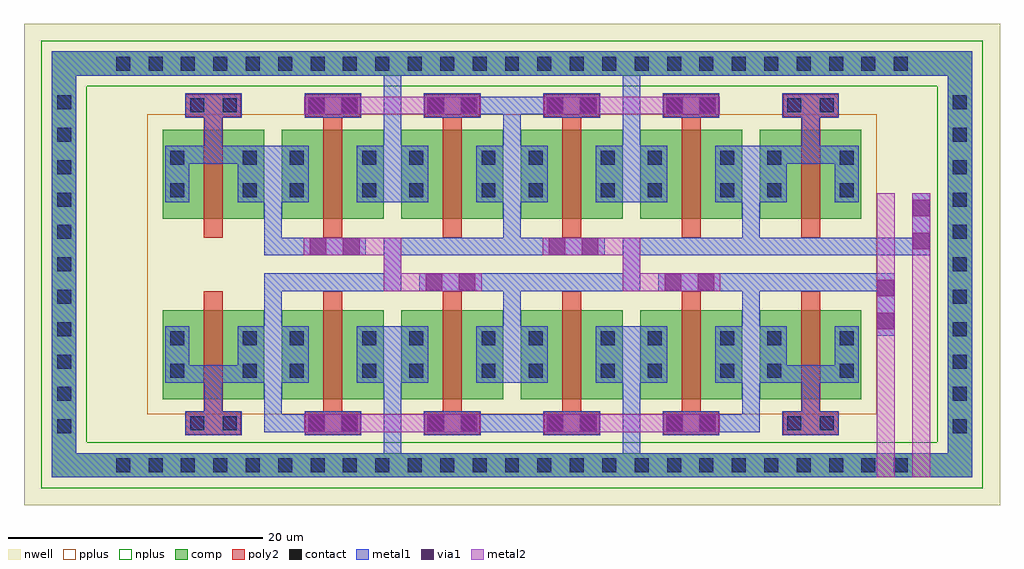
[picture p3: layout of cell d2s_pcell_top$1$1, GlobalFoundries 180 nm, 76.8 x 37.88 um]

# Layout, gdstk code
from math import pi, radians
import gdstk
lib = gdstk.Library(unit=1e-6, precision=1e-09)
def R(c, l, rs):  # rectangles x0, y0, x1, y1
    for r in rs: c.add(gdstk.rectangle(r[:2], r[2:], *l))
def A(c, l, x, y, w, h, nx, ny, dx, dy):  # array of equal rectangles
    R(c, l, [(x+i*dx, y+j*dy, x+i*dx+w, y+j*dy+h) for i in range(nx) for j in range(ny)])
nwell = (21, 0)
comp = (22, 0)
poly2 = (30, 0)
pplus = (31, 0)
nplus = (32, 0)
contact = (33, 0)
metal1 = (34, 0)
via1 = (35, 0)
metal2 = (36, 0)

d2s_pcell_1_1_1_1_1 = lib.new_cell('d2s_pcell_1$1$1$1$1')
R(d2s_pcell_1_1_1_1_1, comp, [(0,1.5,2.3,8.5), (2.3,1.5,5.7,8.5), (5.7,1.5,8,8.5)])
R(d2s_pcell_1_1_1_1_1, poly2, [(3.25,0,4.75,10)])
R(d2s_pcell_1_1_1_1_1, contact, [(0.6,3.175,1.7,4.275), (6.3,3.175,7.4,4.275), (0.6,5.725,1.7,6.825), (6.3,5.725,7.4,6.825)])
R(d2s_pcell_1_1_1_1_1, metal1, [(0.2,2.775,2.1,7.225), (5.9,2.775,7.8,7.225)])

d2s_pcell_4_1_1_1 = lib.new_cell('d2s_pcell_4$1$1$1')
A(d2s_pcell_4_1_1_1, poly2, 1.825, 9.5, 4.35, 1.8, 6, 1, 9.4, 0)
R(d2s_pcell_4_1_1_1, contact, [(2.175,9.85,3.275,10.95), (4.725,9.85,5.825,10.95), (11.575,9.85,12.675,10.95), (14.125,9.85,15.225,10.95), (20.975,9.85,22.075,10.95), (23.525,9.85,24.625,10.95), (30.375,9.85,31.475,10.95), (32.925,9.85,34.025,10.95), (39.775,9.85,40.875,10.95), (42.325,9.85,43.425,10.95), (49.175,9.85,50.275,10.95), (51.725,9.85,52.825,10.95)])
A(d2s_pcell_4_1_1_1, metal1, 7.8, 2.775, 1.8, 4.45, 5, 1, 9.4, 0)
A(d2s_pcell_4_1_1_1, metal1, 1.775, 9.45, 4.45, 1.9, 6, 1, 9.4, 0)
R(d2s_pcell_4_1_1_1, via1, [(11.45,9.75,12.75,11.05), (14.05,9.75,15.35,11.05), (20.85,9.75,22.15,11.05), (23.45,9.75,24.75,11.05), (30.25,9.75,31.55,11.05), (32.85,9.75,34.15,11.05), (39.65,9.75,40.95,11.05), (42.25,9.75,43.55,11.05)])
d2s_pcell_4_1_1_1.add(gdstk.FlexPath([(51,9.45),(51,7.225)], 1.4, ends="flush", simple_path=True, layer=34, datatype=0))  # metal1
d2s_pcell_4_1_1_1.add(gdstk.FlexPath([(49.1,6.525),(52.9,6.525)], 1.4, ends="flush", simple_path=True, layer=34, datatype=0))  # metal1
d2s_pcell_4_1_1_1.add(gdstk.FlexPath([(4,9.45),(4,7.225)], 1.4, ends="flush", simple_path=True, layer=34, datatype=0))  # metal1
d2s_pcell_4_1_1_1.add(gdstk.FlexPath([(5.9,6.525),(2.1,6.525)], 1.4, ends="flush", simple_path=True, layer=34, datatype=0))  # metal1
d2s_pcell_4_1_1_1.add(gdstk.FlexPath([(25.05,10.4),(11.15,10.4)], 1.4, ends="flush", simple_path=True, layer=36, datatype=0))  # metal2
d2s_pcell_4_1_1_1.add(gdstk.FlexPath([(43.85,10.4),(29.95,10.4)], 1.4, ends="flush", simple_path=True, layer=36, datatype=0))  # metal2
d2s_pcell_4_1_1_1.add(gdstk.Reference(d2s_pcell_1_1_1_1_1, (9.4,0)))
d2s_pcell_4_1_1_1.add(gdstk.Reference(d2s_pcell_1_1_1_1_1, (18.8,0)))
d2s_pcell_4_1_1_1.add(gdstk.Reference(d2s_pcell_1_1_1_1_1, (28.2,0)))
d2s_pcell_4_1_1_1.add(gdstk.Reference(d2s_pcell_1_1_1_1_1, (37.6,0)))
d2s_pcell_4_1_1_1.add(gdstk.Reference(d2s_pcell_1_1_1_1_1, (47,0)))
d2s_pcell_4_1_1_1.add(gdstk.Reference(d2s_pcell_1_1_1_1_1, (8,0), rotation=pi, x_reflection=True))

d2s_pcell_top_1_1 = lib.new_cell('d2s_pcell_top$1$1')
R(d2s_pcell_top_1_1, nwell, [(0,0,76.8,37.875)])
R(d2s_pcell_top_1_1, pplus, [(9.7,7.15,67.1,30.75)])
A(d2s_pcell_top_1_1, contact, 7.25, 2.6, 1.1, 1.1, 25, 2, 2.55, 31.6)
A(d2s_pcell_top_1_1, contact, 2.6, 5.65, 1.1, 1.1, 1, 11, 0, 2.55)
A(d2s_pcell_top_1_1, contact, 73.1, 5.65, 1.1, 1.1, 1, 11, 0, 2.55)
R(d2s_pcell_top_1_1, via1, [(67.15,13.85,68.45,15.15), (67.15,16.45,68.45,17.75), (31.6,16.9,32.9,18.2), (34.2,16.9,35.5,18.2), (50.4,16.9,51.7,18.2), (53,16.9,54.3,18.2), (22.5,19.7,23.8,21), (25.1,19.7,26.4,21), (41.3,19.7,42.6,21), (43.9,19.7,45.2,21), (69.95,20.15,71.25,21.45), (69.95,22.75,71.25,24.05)])
d2s_pcell_top_1_1.add(gdstk.FlexPath([(73.65,35.7),(73.65,3.15),(3.15,3.15),(3.15,34.75),(72.7,34.75)], 1.9, ends="flush", simple_path=True, layer=34, datatype=0))  # metal1
d2s_pcell_top_1_1.add(gdstk.FlexPath([(70.6,19.65),(70.6,24.55)], 1.4, ends="flush", simple_path=True, layer=34, datatype=0))  # metal1
d2s_pcell_top_1_1.add(gdstk.FlexPath([(57.9,17.55),(68.5,17.55)], 1.4, ends="flush", simple_path=True, layer=34, datatype=0))  # metal1
d2s_pcell_top_1_1.add(gdstk.FlexPath([(67.8,13.35),(67.8,18.25)], 1.4, ends="flush", simple_path=True, layer=34, datatype=0))  # metal1
d2s_pcell_top_1_1.add(gdstk.FlexPath([(57.9,20.35),(70.85,20.35)], 1.4, ends="flush", simple_path=True, layer=34, datatype=0))  # metal1
d2s_pcell_top_1_1.add(gdstk.FlexPath([(57.2,23.825),(57.2,21.05)], 1.4, ends="flush", simple_path=True, layer=34, datatype=0))  # metal1
d2s_pcell_top_1_1.add(gdstk.FlexPath([(38.4,23.825),(38.4,21.05)], 1.4, ends="flush", simple_path=True, layer=34, datatype=0))  # metal1
d2s_pcell_top_1_1.add(gdstk.FlexPath([(19.6,23.825),(19.6,21.05)], 1.4, ends="flush", simple_path=True, layer=34, datatype=0))  # metal1
d2s_pcell_top_1_1.add(gdstk.FlexPath([(36,20.35),(29,20.35),(29,17.55),(22,17.55)], 1.4, ends="flush", simple_path=True, layer=34, datatype=0))  # metal1
d2s_pcell_top_1_1.add(gdstk.FlexPath([(26.9,20.35),(22,20.35)], 1.4, ends="flush", simple_path=True, layer=34, datatype=0))  # metal1
d2s_pcell_top_1_1.add(gdstk.FlexPath([(36,17.55),(31.1,17.55)], 1.4, ends="flush", simple_path=True, layer=34, datatype=0))  # metal1
d2s_pcell_top_1_1.add(gdstk.FlexPath([(36,20.35),(40.8,20.35)], 1.4, ends="flush", simple_path=True, layer=34, datatype=0))  # metal1
d2s_pcell_top_1_1.add(gdstk.FlexPath([(36,17.55),(40.8,17.55)], 1.4, ends="flush", simple_path=True, layer=34, datatype=0))  # metal1
d2s_pcell_top_1_1.add(gdstk.FlexPath([(22,20.35),(18.9,20.35)], 1.4, ends="flush", simple_path=True, layer=34, datatype=0))  # metal1
d2s_pcell_top_1_1.add(gdstk.FlexPath([(22,17.55),(18.9,17.55)], 1.4, ends="flush", simple_path=True, layer=34, datatype=0))  # metal1
d2s_pcell_top_1_1.add(gdstk.FlexPath([(38.4,23.825),(38.4,21.05)], 1.4, ends="flush", simple_path=True, layer=34, datatype=0))  # metal1
d2s_pcell_top_1_1.add(gdstk.FlexPath([(54.8,20.35),(47.8,20.35),(47.8,17.55),(40.8,17.55)], 1.4, ends="flush", simple_path=True, layer=34, datatype=0))  # metal1
d2s_pcell_top_1_1.add(gdstk.FlexPath([(38.4,28.275),(38.4,30.75)], 1.4, ends="flush", simple_path=True, layer=34, datatype=0))  # metal1
d2s_pcell_top_1_1.add(gdstk.FlexPath([(54.725,6.45),(57.2,6.45),(57.2,9.625)], 1.4, ends="flush", simple_path=True, layer=34, datatype=0))  # metal1
d2s_pcell_top_1_1.add(gdstk.FlexPath([(22.075,6.45),(19.6,6.45),(19.6,9.625)], 1.4, ends="flush", simple_path=True, layer=34, datatype=0))  # metal1
d2s_pcell_top_1_1.add(gdstk.FlexPath([(45.7,20.35),(40.8,20.35)], 1.4, ends="flush", simple_path=True, layer=34, datatype=0))  # metal1
d2s_pcell_top_1_1.add(gdstk.FlexPath([(54.8,17.55),(49.9,17.55)], 1.4, ends="flush", simple_path=True, layer=34, datatype=0))  # metal1
d2s_pcell_top_1_1.add(gdstk.FlexPath([(57.9,20.35),(54.8,20.35)], 1.4, ends="flush", simple_path=True, layer=34, datatype=0))  # metal1
d2s_pcell_top_1_1.add(gdstk.FlexPath([(57.9,17.55),(54.8,17.55)], 1.4, ends="flush", simple_path=True, layer=34, datatype=0))  # metal1
d2s_pcell_top_1_1.add(gdstk.FlexPath([(57.2,16.85),(57.2,14.075)], 1.4, ends="flush", simple_path=True, layer=34, datatype=0))  # metal1
d2s_pcell_top_1_1.add(gdstk.FlexPath([(38.4,16.85),(38.4,14.075)], 1.4, ends="flush", simple_path=True, layer=34, datatype=0))  # metal1
d2s_pcell_top_1_1.add(gdstk.FlexPath([(19.6,16.85),(19.6,14.075)], 1.4, ends="flush", simple_path=True, layer=34, datatype=0))  # metal1
d2s_pcell_top_1_1.add(gdstk.FlexPath([(38.4,16.85),(38.4,14.075)], 1.4, ends="flush", simple_path=True, layer=34, datatype=0))  # metal1
d2s_pcell_top_1_1.add(gdstk.FlexPath([(40.875,31.45),(35.925,31.45)], 1.4, ends="flush", simple_path=True, layer=34, datatype=0))  # metal1
d2s_pcell_top_1_1.add(gdstk.FlexPath([(40.875,6.45),(35.925,6.45)], 1.4, ends="flush", simple_path=True, layer=34, datatype=0))  # metal1
d2s_pcell_top_1_1.add(gdstk.FlexPath([(29,9.625),(29,4.1)], 1.4, ends="flush", simple_path=True, layer=34, datatype=0))  # metal1
d2s_pcell_top_1_1.add(gdstk.FlexPath([(47.8,9.625),(47.8,4.1)], 1.4, ends="flush", simple_path=True, layer=34, datatype=0))  # metal1
d2s_pcell_top_1_1.add(gdstk.FlexPath([(29,33.8),(29,28.275)], 1.4, ends="flush", simple_path=True, layer=34, datatype=0))  # metal1
d2s_pcell_top_1_1.add(gdstk.FlexPath([(47.8,33.8),(47.8,28.275)], 1.4, ends="flush", simple_path=True, layer=34, datatype=0))  # metal1
d2s_pcell_top_1_1.add(gdstk.FlexPath([(73.65,35.7),(73.65,3.15),(3.15,3.15),(3.15,34.75),(72.7,34.75)], 1.9, ends="flush", simple_path=True, layer=22, datatype=0))  # comp
d2s_pcell_top_1_1.add(gdstk.FlexPath([(70.6,24.55),(70.6,2.2)], 1.4, ends="flush", simple_path=True, layer=36, datatype=0))  # metal2
d2s_pcell_top_1_1.add(gdstk.FlexPath([(67.8,24.55),(67.8,2.2)], 1.4, ends="flush", simple_path=True, layer=36, datatype=0))  # metal2
d2s_pcell_top_1_1.add(gdstk.FlexPath([(54.8,17.55),(47.8,17.55),(47.8,20.35),(40.8,20.35)], 1.4, ends="flush", simple_path=True, layer=36, datatype=0))  # metal2
d2s_pcell_top_1_1.add(gdstk.FlexPath([(36,17.55),(29,17.55),(29,20.35),(22,20.35)], 1.4, ends="flush", simple_path=True, layer=36, datatype=0))  # metal2
d2s_pcell_top_1_1.add(gdstk.FlexPath([(73.65,35.7),(73.65,3.15),(3.15,3.15),(3.15,34.75),(75.45,34.75)], 3.6, ends="flush", simple_path=True, layer=32, datatype=0))  # nplus
d2s_pcell_top_1_1.add(gdstk.Reference(d2s_pcell_4_1_1_1, (10.9,21.05)))
d2s_pcell_top_1_1.add(gdstk.Reference(d2s_pcell_4_1_1_1, (10.9,16.85), x_reflection=True))

lib.write_gds('d2s_pcell_top_1_1.gds')
